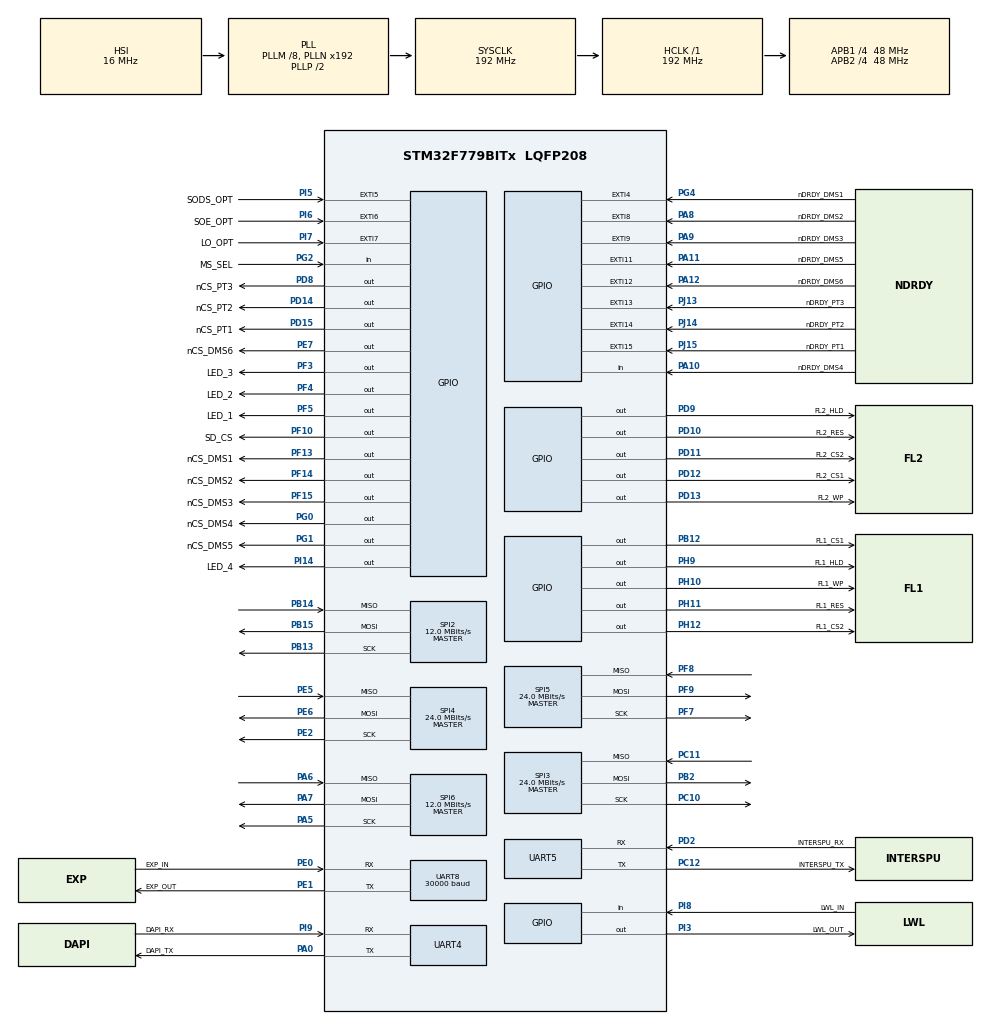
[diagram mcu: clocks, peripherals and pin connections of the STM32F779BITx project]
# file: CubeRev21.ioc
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SPI6.Mode=SPI_MODE_MASTER
PD12.GPIO_Label=FL2_CS1
SPI3.Direction=SPI_DIRECTION_2LINES
SPI4.VirtualType=VM_MASTER
SPI3.VirtualType=VM_MASTER
PH12.Signal=GPIO_Output
SPI2.VirtualType=VM_MASTER
PG4.Signal=GPXTI4
PC12.Signal=UART5_TX
PG0.Signal=GPIO_Output
VP_RTC_VS_RTC_Activate.Mode=RTC_Enabled
PI6.GPIO_Label=SOE_OPT
PB13.Signal=SPI2_SCK
RCC.SYSCLKSource=RCC_SYSCLKSOURCE_PLLCLK
NVIC.SPI4_IRQn=true\:6\:0\:true\:false\:true\:true\:true
PJ13.GPIO_Label=nDRDY_PT3
PF7.Signal=SPI5_SCK
PH9.Signal=GPIO_Output
PE2.Mode=Full_Duplex_Master
RCC.APB2TimFreq_Value=96000000
PD8.Signal=GPIO_Output
PE5.Signal=SPI4_MISO
PE1.Signal=UART8_TX
PF10.GPIO_Label=SD_CS
PH10.GPIO_Label=FL1_WP
NVIC.EXTI15_10_IRQn=true\:5\:0\:true\:false\:true\:true\:true
PB2.Signal=SPI3_MOSI
PB3.Mode=JTAG_5_pins
PB12.GPIO_Label=FL1_CS1
PB14.Mode=Full_Duplex_Master
PI6.Signal=GPXTI6
PI3.Signal=GPIO_Output
PG4.GPIO_Label=nDRDY_DMS1
SPI2.CalculateBaudRate=12.0 MBits/s
PE2.Signal=SPI4_SCK
PF8.Mode=Full_Duplex_Master
PA8.Signal=GPXTI8
PF3.Signal=GPIO_Output
PJ14.Signal=GPXTI14
Mcu.Package=LQFP208
SPI2.Mode=SPI_MODE_MASTER
SPI3.Mode=SPI_MODE_MASTER
PD12.Signal=GPIO_Output
PA10.Signal=GPIO_Input
PC11.Mode=Full_Duplex_Master
SPI5.CalculateBaudRate=24.0 MBits/s
RCC.APB2CLKDivider=RCC_HCLK_DIV4
PF14.Signal=GPIO_Output
RCC.APB1TimFreq_Value=96000000
PB13.Mode=Full_Duplex_Master
PD15.Signal=GPIO_Output
SPI5.VirtualType=VM_MASTER
NVIC.UART4_IRQn=true\:6\:0\:true\:false\:true\:true\:true
PA5.Mode=Full_Duplex_Master
PD12.PinState=GPIO_PIN_RESET
NVIC.EXTI4_IRQn=true\:5\:0\:true\:false\:true\:true\:true
NVIC.UART8_IRQn=true\:6\:0\:true\:false\:true\:true\:true
PD9.GPIO_Label=FL2_HLD
PA9.GPIO_Label=nDRDY_DMS3
PE1.Mode=Asynchronous
PA11.GPIO_Label=nDRDY_DMS5
PF14.GPIO_Label=nCS_DMS2
RCC.APB1CLKDivider=RCC_HCLK_DIV4
PF13.GPIO_Label=nCS_DMS1
PD10.Signal=GPIO_Output
PI8.GPIO_Label=LWL_IN
PA8.GPIO_Label=nDRDY_DMS2
SPI6.CalculateBaudRate=12.0 MBits/s
PD11.GPIO_Speed=GPIO_SPEED_FREQ_LOW
PH11.GPIO_Label=FL1_RES
PA9.Signal=GPXTI9
PA0/WKUP.Mode=Asynchronous
PB14.Signal=SPI2_MISO
PA5.Signal=SPI6_SCK
PH9.GPIO_Label=FL1_HLD
PJ15.Signal=GPXTI15
PC12.Mode=Asynchronous
PI9.GPIO_Label=DAPI_RX
PE1.GPIO_Label=EXP_OUT
PI7.Signal=GPXTI7
PE6.Mode=Full_Duplex_Master
PF4.GPIO_Label=LED_2
PA0/WKUP.GPIO_Label=DAPI_TX
PF13.Signal=GPIO_Output
PJ15.GPIO_Label=nDRDY_PT1
PA13.Mode=JTAG_5_pins
PD11.Signal=GPIO_Output
PC12.GPIO_Label=INTERSPU_TX
PA11.Signal=GPXTI11
ProjectManager.HeapSize=0x200
PF9.Signal=SPI5_MOSI
SPI4.CLKPhase=SPI_PHASE_2EDGE
SPI6.BaudRatePrescaler=SPI_BAUDRATEPRESCALER_4
NVIC.PriorityGroup=NVIC_PRIORITYGROUP_4
SPI2.DataSize=SPI_DATASIZE_8BIT
PF4.Signal=GPIO_Output
PD2.Signal=UART5_RX
PD2.GPIO_Label=INTERSPU_RX
SPI6.VirtualType=VM_MASTER
Mcu.Family=STM32F7
PA6.Mode=Full_Duplex_Master
NVIC.SPI6_IRQn=true\:6\:0\:true\:false\:true\:true\:true
RCC.CortexFreq_Value=192000000
PH10.Signal=GPIO_Output
PG2.Signal=GPIO_Input
PC10.Signal=SPI3_SCK
SPI4.Direction=SPI_DIRECTION_2LINES
CRC.InputDataFormat=CRC_INPUTDATA_FORMAT_WORDS
PA0/WKUP.Signal=UART4_TX
PI5.GPIO_Label=SODS_OPT
PB15.Signal=SPI2_MOSI
PD11.PinState=GPIO_PIN_RESET
PI14.GPIO_Label=LED_4
PJ14.GPIO_Label=nDRDY_PT2
ProjectManager.StackSize=0x400
NVIC.UART5_IRQn=true\:6\:0\:true\:false\:true\:true\:true
PD13.Signal=GPIO_Output
PD11.GPIO_PuPd=GPIO_NOPULL
PA12.Signal=GPXTI12
SPI4.Mode=SPI_MODE_MASTER
RCC.HCLKFreq_Value=192000000
PD11.GPIO_Label=FL2_CS2
PI9.Mode=Asynchronous
RCC.AHBFreq_Value=192000000
SPI2.BaudRatePrescaler=SPI_BAUDRATEPRESCALER_4
SPI3.DataSize=SPI_DATASIZE_8BIT
RCC.HSE_VALUE=25000000
PA15.Mode=JTAG_5_pins
PI8.Signal=GPIO_Input
PF9.Mode=Full_Duplex_Master
PB4.Mode=JTAG_5_pins
PA14.Mode=JTAG_5_pins
PI5.Signal=GPXTI5
PA10.GPIO_Label=nDRDY_DMS4
NVIC.SPI2_IRQn=true\:6\:0\:true\:false\:true\:true\:true
SPI4.BaudRatePrescaler=SPI_BAUDRATEPRESCALER_2
PD13.GPIO_Label=FL2_WP
PA6.Signal=SPI6_MISO
UART8.BaudRate=30000
PH12.PinState=GPIO_PIN_RESET
PF5.GPIO_Label=LED_1
PA15.Signal=SYS_JTDI
PF8.Signal=SPI5_MISO
PG0.GPIO_Label=nCS_DMS4
PE0.GPIO_Label=EXP_IN
PF5.Signal=GPIO_Output
SPI2.Direction=SPI_DIRECTION_2LINES
PE7.Signal=GPIO_Output
PF3.GPIO_Label=LED_3
PB4.Signal=SYS_JTRST
PG2.GPIO_Label=MS_SEL
PD15.GPIO_Label=nCS_PT1
PA7.Mode=Full_Duplex_Master
PH12.GPIO_Label=FL1_CS2
PH11.Signal=GPIO_Output
SPI4.DataSize=SPI_DATASIZE_8BIT
PG1.Signal=GPIO_Output
PC11.Signal=SPI3_MISO
PI14.Signal=GPIO_Output
PC10.Mode=Full_Duplex_Master
PD9.Signal=GPIO_Output
SPI5.Mode=SPI_MODE_MASTER
PA12.GPIO_Label=nDRDY_DMS6
PD8.GPIO_Label=nCS_PT3
PA13.Signal=SYS_JTMS-SWDIO
PF7.Mode=Full_Duplex_Master
SPI6.DataSize=SPI_DATASIZE_8BIT
ProjectManager.TargetToolchain=STM32CubeIDE
RCC.USBFreq_Value=192000000
PD10.GPIO_Label=FL2_RES
RCC.LSE_VALUE=32768
PD2.Mode=Asynchronous
board=custom
RCC.VCOOutputFreq_Value=384000000
PG1.GPIO_Label=nCS_DMS5
PI9.Signal=UART4_RX
PB15.Mode=Full_Duplex_Master
RCC.APB2Freq_Value=48000000
SPI3.CalculateBaudRate=24.0 MBits/s
PF10.Signal=GPIO_Output
PE5.Mode=Full_Duplex_Master
PF15.GPIO_Label=nCS_DMS3
PI7.GPIO_Label=LO_OPT
SPI6.Direction=SPI_DIRECTION_2LINES
PF15.Signal=GPIO_Output
SPI4.CalculateBaudRate=24.0 MBits/s
PD14.GPIO_Label=nCS_PT2
PE6.Signal=SPI4_MOSI
Mcu.Name=STM32F779BITx
PE0.Signal=UART8_RX
PE7.GPIO_Label=nCS_DMS6
PD14.Signal=GPIO_Output
PB3.Signal=SYS_JTDO-SWO
RCC.SYSCLKFreq_VALUE=192000000
PB2.Mode=Full_Duplex_Master
NVIC.EXTI9_5_IRQn=true\:5\:0\:true\:false\:true\:true\:true
PA14.Signal=SYS_JTCK-SWCLK
RCC.HSI_VALUE=16000000
PI3.GPIO_Label=LWL_OUT
RCC.PLLM=8
RCC.APB1Freq_Value=48000000
VP_CRC_VS_CRC.Mode=CRC_Activate
PB12.Signal=GPIO_Output
PE0.Mode=Asynchronous
PJ13.Signal=GPXTI13
SPI5.Direction=SPI_DIRECTION_2LINES
PA7.Signal=SPI6_MOSI

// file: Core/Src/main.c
/* USER CODE BEGIN Header */
/**
 ******************************************************************************
 @file           : main.c
 @brief          : Main program body
 ******************************************************************************
 @attention

 <h2><center>&copy; Copyright (c) 2020 STMicroelectronics.
 All rights reserved.</center></h2>

 This software component is licensed by ST under BSD 3-Clause license,
 the "License"; You may not use this file except in compliance with the
 License. You may obtain a copy of the License at:
 opensource.org/licenses/BSD-3-Clause

 ******************************************************************************
 */
/* USER CODE END Header */
#include "main.h"
#include "crc.h"
#include "rtc.h"
#include "spi.h"
#include "usart.h"
#include "gpio.h"

void SystemClock_Config(void);

/* USER CODE BEGIN 0 */
uint16_t data = 0;
/* USER CODE END 0 */

int main(void)
{

  /* MCU Configuration--------------------------------------------------------*/

  /* Reset of all peripherals, Initializes the Flash interface and the Systick. */
  HAL_Init();

  /* Configure the system clock */
  SystemClock_Config();

  /* Initialize all configured peripherals */
  MX_GPIO_Init();
  MX_SPI2_Init();
  MX_SPI3_Init();
  MX_SPI6_Init();
  MX_UART4_Init();
  MX_UART8_Init();
  MX_UART5_Init();
  MX_CRC_Init();
  MX_SPI4_Init();
  MX_SPI5_Init();
  MX_RTC_Init();
  /* USER CODE BEGIN 2 */
	HAL_GPIO_WritePin(LED_1_GPIO_Port, LED_1_Pin, GPIO_PIN_RESET); //clear all LEDs
	HAL_GPIO_WritePin(LED_2_GPIO_Port, LED_2_Pin, GPIO_PIN_RESET);
	HAL_GPIO_WritePin(LED_3_GPIO_Port, LED_3_Pin, GPIO_PIN_RESET);
	HAL_GPIO_WritePin(LED_4_GPIO_Port, LED_4_Pin, GPIO_PIN_RESET);

	if (!HAL_GPIO_ReadPin(MS_SEL_GPIO_Port, MS_SEL_Pin)) {
		main_master();
	} else { //Slave loop
		main_slave();
	}

  /* USER CODE END 2 */

  /* Infinite loop */
	while (1) {

	}
}

void SystemClock_Config(void)
{
  RCC_OscInitTypeDef RCC_OscInitStruct = {0};
  RCC_ClkInitTypeDef RCC_ClkInitStruct = {0};
  RCC_PeriphCLKInitTypeDef PeriphClkInitStruct = {0};

  /** Configure the main internal regulator output voltage
  */
  __HAL_RCC_PWR_CLK_ENABLE();
  __HAL_PWR_VOLTAGESCALING_CONFIG(PWR_REGULATOR_VOLTAGE_SCALE1);
  /** Initializes the RCC Oscillators according to the specified parameters
  * in the RCC_OscInitTypeDef structure.
  */
  RCC_OscInitStruct.OscillatorType = RCC_OSCILLATORTYPE_HSI|RCC_OSCILLATORTYPE_LSI;
  RCC_OscInitStruct.HSIState = RCC_HSI_ON;
  RCC_OscInitStruct.HSICalibrationValue = RCC_HSICALIBRATION_DEFAULT;
  RCC_OscInitStruct.LSIState = RCC_LSI_ON;
  RCC_OscInitStruct.PLL.PLLState = RCC_PLL_ON;
  RCC_OscInitStruct.PLL.PLLSource = RCC_PLLSOURCE_HSI;
  RCC_OscInitStruct.PLL.PLLM = 8;
  RCC_OscInitStruct.PLL.PLLN = 192;
  RCC_OscInitStruct.PLL.PLLP = RCC_PLLP_DIV2;
  RCC_OscInitStruct.PLL.PLLQ = 2;
  if (HAL_RCC_OscConfig(&RCC_OscInitStruct) != HAL_OK)
  {
    Error_Handler();
  }
  /** Activate the Over-Drive mode
  */
  if (HAL_PWREx_EnableOverDrive() != HAL_OK)
  {
    Error_Handler();
  }
  /** Initializes the CPU, AHB and APB buses clocks
  */
  RCC_ClkInitStruct.ClockType = RCC_CLOCKTYPE_HCLK|RCC_CLOCKTYPE_SYSCLK
                              |RCC_CLOCKTYPE_PCLK1|RCC_CLOCKTYPE_PCLK2;
  RCC_ClkInitStruct.SYSCLKSource = RCC_SYSCLKSOURCE_PLLCLK;
  RCC_ClkInitStruct.AHBCLKDivider = RCC_SYSCLK_DIV1;
  RCC_ClkInitStruct.APB1CLKDivider = RCC_HCLK_DIV4;
  RCC_ClkInitStruct.APB2CLKDivider = RCC_HCLK_DIV4;

  if (HAL_RCC_ClockConfig(&RCC_ClkInitStruct, FLASH_LATENCY_6) != HAL_OK)
  {
    Error_Handler();
  }
  PeriphClkInitStruct.PeriphClockSelection = RCC_PERIPHCLK_RTC|RCC_PERIPHCLK_UART4
                              |RCC_PERIPHCLK_UART5|RCC_PERIPHCLK_UART8;
  PeriphClkInitStruct.RTCClockSelection = RCC_RTCCLKSOURCE_LSI;
  PeriphClkInitStruct.Uart4ClockSelection = RCC_UART4CLKSOURCE_PCLK1;
  PeriphClkInitStruct.Uart5ClockSelection = RCC_UART5CLKSOURCE_PCLK1;
  PeriphClkInitStruct.Uart8ClockSelection = RCC_UART8CLKSOURCE_PCLK1;
  if (HAL_RCCEx_PeriphCLKConfig(&PeriphClkInitStruct) != HAL_OK)
  {
    Error_Handler();
  }
}

/* USER CODE BEGIN 4 */
void main_master(void) {
	//HAL_GPIO_WritePin(LED_1_GPIO_Port, LED_1_Pin, GPIO_PIN_SET);  //ON = MS set to Master
	//uint8_t bufferOff[3] = {0x01, 0x03, 0x05};
	//uint8_t bufferOn[3] = {0x02, 0x04, 0x06};

	uint32_t lastInit = 0;
	uint32_t lastBlinky = 0;
	uint8_t writeBuffer[256] = {0};

	uint8_t readSensor = 3; //DMS: 0-5, PT100: 6-8

/*
	while(1){
		HAL_GPIO_TogglePin(FL1_RES_GPIO_Port, FL1_RES_Pin);
		HAL_GPIO_TogglePin(LED_2_GPIO_Port, LED_2_Pin);

		HAL_Delay(1000);
	}
*/

	/* Performing the memory test */
	InitMemory();
	uint32_t memoryTest = FastMemoryTest(huart4);
	//while(1);

	for (int sensors = 0; sensors <= 8; sensors++) {
		if (sensors <= 5)
			adc_scan_start(sensors, 2000, 128, 0);
		else
			adc_scan_start(sensors, 2000, 1, 0);
	}

	HAL_Delay(1000);

	uint8_t softgain = 1;
	uint8_t offset = 0;
	uint8_t dout = 0;
	HAL_UART_Transmit(&huart4, (uint8_t*) &dout, sizeof(dout), HAL_MAX_DELAY);

	while (1) { //Master loop

		data = adc_scan(readSensor, 0x01);
		dout = data * softgain + offset;
		write_DAPI(&dout);
		write_EXP(&dout);

		HAL_GPIO_WritePin(LED_2_GPIO_Port, LED_2_Pin,
				HAL_GPIO_ReadPin(SODS_OPT_GPIO_Port, SODS_OPT_Pin));
		HAL_GPIO_WritePin(LED_3_GPIO_Port, LED_3_Pin,
				HAL_GPIO_ReadPin(LO_OPT_GPIO_Port, LO_OPT_Pin));
		HAL_GPIO_WritePin(LED_4_GPIO_Port, LED_4_Pin,
				HAL_GPIO_ReadPin(SOE_OPT_GPIO_Port, SOE_OPT_Pin));

		if (lastInit + 5000 < HAL_GetTick()) {
			lastInit = HAL_GetTick();
			//write_EXP(&dout);
			/*
			 for(int sensors = 0; sensors <=8 ; sensors++){
			 if(sensors <= 5)
			 adc_scan_start(sensors, 2000, 128, 0);
			 else
			 adc_scan_start(sensors, 20, 1, 50);
			 }
			 */

		}

		if (lastBlinky + 1000 < HAL_GetTick()) {
			lastBlinky = HAL_GetTick();
			HAL_GPIO_TogglePin(LED_1_GPIO_Port, LED_1_Pin);
		}

		/*
		 HAL_GPIO_TogglePin(LED_3_GPIO_Port, LED_3_Pin);
		 HAL_UART_Transmit(&huart5, bufferOff, sizeof(bufferOff), 5);
		 HAL_Delay(100);
		 HAL_GPIO_TogglePin(LED_3_GPIO_Port, LED_3_Pin);
		 HAL_UART_Transmit(&huart5, bufferOn, sizeof(bufferOn), 5);
		 HAL_Delay(100);
		 */
	}
}

void main_slave(void) {
	uint8_t buffer[1] = { 0x00 };
	while (1) {
		HAL_UART_Receive(&huart5, buffer, sizeof(buffer), 5);
		if (buffer[0] == 0x01) {
			HAL_GPIO_WritePin(LED_2_GPIO_Port, LED_2_Pin, GPIO_PIN_RESET);
		} else if (buffer[0] == 0x02) {
			HAL_GPIO_WritePin(LED_2_GPIO_Port, LED_2_Pin, GPIO_PIN_SET);
		} else if (buffer[0] == 0x03) {
			HAL_GPIO_WritePin(LED_3_GPIO_Port, LED_3_Pin, GPIO_PIN_RESET);
		} else if (buffer[0] == 0x04) {
			HAL_GPIO_WritePin(LED_3_GPIO_Port, LED_3_Pin, GPIO_PIN_SET);
		} else if (buffer[0] == 0x05) {
			HAL_GPIO_WritePin(LED_4_GPIO_Port, LED_4_Pin, GPIO_PIN_RESET);
		} else if (buffer[0] == 0x06) {
			HAL_GPIO_WritePin(LED_4_GPIO_Port, LED_4_Pin, GPIO_PIN_SET);
		}
		buffer[1] = 0x00;
	}
}

int cs_enable(int8_t id) {
	HAL_GPIO_WritePin(port_from_id(id), pin_from_id(id), GPIO_PIN_RESET);
	HAL_Delay(1);
	return 0;
}

int cs_disable(int8_t id) {
	HAL_GPIO_WritePin(port_from_id(id), pin_from_id(id), GPIO_PIN_SET);
	HAL_Delay(1);
	return 0;
}

int wr_spi(int8_t id, uint8_t cmd) {
	HAL_SPI_Transmit(get_hspi_from_id(id), &cmd, sizeof(cmd), HAL_MAX_DELAY);
	return 0;
}

uint16_t adc_scan(int8_t id, uint8_t chn) {
	return rd_data(id);
}

int16_t adc_scan_start(int8_t id, uint_least16_t drate, uint_least8_t gain,
		uint_least16_t current) {
	int16_t r = 0;
	switch (drate) {
	case 5:
		drate = SYS0_DOR5;
		break;
	case 10:
		drate = SYS0_DOR10;
		break;
	case 20:
		drate = SYS0_DOR20;
		break;
	default:
	case 40:
		drate = SYS0_DOR40;
		break;
	case 80:
		drate = SYS0_DOR80;
		break;
	case 160:
		drate = SYS0_DOR160;
		break;
	case 320:
		drate = SYS0_DOR320;
		break;
	case 640:
		drate = SYS0_DOR640;
		break;
	case 1000:
		drate = SYS0_DOR1000;
		break;
	case 2000:
		drate = SYS0_DOR2000;
		break;
	}

	switch (gain) {
	default:
	case 1:
		gain = SYS0_PGA1;
		break;
	case 2:
		gain = SYS0_PGA2;
		break;
	case 4:
		gain = SYS0_PGA4;
		break;
	case 8:
		gain = SYS0_PGA8;
		break;
	case 16:
		gain = SYS0_PGA16;
		break;
	case 32:
		gain = SYS0_PGA32;
		break;
	case 64:
		gain = SYS0_PGA64;
		break;
	case 128:
		gain = SYS0_PGA128;
		break;
	}

	switch (current) {
	default:
	case 0:
		current = IDAC0_MAGOFF;
		break;
	case 50:
		current = IDAC0_MAG50UA;
		break;
	case 100:
		current = IDAC0_MAG100UA;
		break;
	case 250:
		current = IDAC0_MAG250UA;
		break;
	case 500:
		current = IDAC0_MAG500UA;
		break;
	case 750:
		current = IDAC0_MAG750UA;
		break;
	case 1000:
		current = IDAC0_MAG1000UA;
		break;
	case 1500:
		current = IDAC0_MAG1500UA;
		break;
	}

	cs_enable(id);

	if (id <= 5) {	//DMS

		wr_cmd(id, CMD_RESET);
		wr_cmd(id, CMD_SDATAC);
		wr_reg(id, REG_MUX0, 0b00000001);
		wr_reg(id, REG_VBIAS, 0x00);
		wr_reg(id, REG_MUX1, 0b00110000);
		wr_reg(id, REG_SYS0, gain | drate);
		wr_reg(id, REG_IDAC0, 0x00);
		wr_reg(id, REG_IDAC1, 0b11001100);
		wr_cmd(id, CMD_SYNC);
		//uint8_t rdata = CMD_RDATAC;
		//HAL_SPI_Transmit(get_hspi_from_id(id), &rdata, 2, HAL_MAX_DELAY);

	} else {	//PT100

		wr_cmd(id, CMD_RESET);
		wr_cmd(id, CMD_SDATAC);
		wr_reg(id, REG_VBIAS, 0x00);
		wr_reg(id, REG_MUX0, 0x01); //?
		wr_reg(id, REG_MUX1, 0b00100000); //int ref on, REFP0/REFN0 ref inp selected
		//wr_reg(id, REG_VBIAS, 0x00);
		//wr_reg(id, REG_MUX1, 0b00110000);
		wr_reg(id, REG_SYS0, gain | drate); //Gain 4, SPS 20
		wr_reg(id, REG_IDAC0, current); //1mA;
		wr_reg(id, REG_IDAC1, 0b00000010); //IDAC1 = AIN0, IDAC2 = AIN3
		wr_cmd(id, CMD_SYNC);
		//uint8_t rdata = CMD_RDATAC;
		//HAL_SPI_Transmit(get_hspi_from_id(id), &rdata, 2, HAL_MAX_DELAY);
	}

	cs_disable(id);

	return r;

}

uint16_t rd_data(int8_t id) {
	uint8_t d1, d3;
	uint16_t dR;

	while (HAL_GPIO_ReadPin(port_drdy_from_id(id), pin_drdy_from_id(id))
			== GPIO_PIN_SET)
		;
	cs_enable(id);

	uint8_t rdata = CMD_RDATA;
	HAL_SPI_Transmit(get_hspi_from_id(id), &rdata, 2, HAL_MAX_DELAY);
	//HAL_Delay(1);

	uint8_t nope = CMD_NOP;
	HAL_SPI_TransmitReceive(get_hspi_from_id(id), &nope, &d1, 2, HAL_MAX_DELAY);
	HAL_SPI_TransmitReceive(get_hspi_from_id(id), &nope, &d3, 2, HAL_MAX_DELAY);
	dR = (d1 << 8) | d3;
	cs_disable(id);

	return dR;
}

//
int rd_spi(int8_t id) {
	uint8_t d1;
	//cs_enable(id);
	HAL_SPI_Receive(get_hspi_from_id(id), &d1, sizeof(d1), HAL_MAX_DELAY);
	//cs_disable(id);
	return d1;
}

//
uint16_t pin_from_id(int8_t id) {
	switch (id) {
	case 0: //DMS 1
		return nCS_DMS1_Pin;
	case 1: //DMS 2
		return nCS_DMS2_Pin;
	case 2: //DMS 3
		return nCS_DMS3_Pin;
	case 3: //DMS 4
		return nCS_DMS4_Pin;
	case 4: //DMS 5
		return nCS_DMS5_Pin;
	case 5: //DMS 6
		return nCS_DMS6_Pin;
	case 6: //PT 1
		return nCS_PT1_Pin;
	case 7: //PT 2
		return nCS_PT2_Pin;
	case 8: //PT 3
		return nCS_PT3_Pin;
	default: //DMS 1
		return nCS_DMS1_Pin;
	}
}

//
GPIO_TypeDef* port_from_id(int8_t id) {
	switch (id) {
	case 0: //DMS 1
		return nCS_DMS1_GPIO_Port;
	case 1: //DMS 2
		return nCS_DMS2_GPIO_Port;
	case 2: //DMS 3
		return nCS_DMS3_GPIO_Port;
	case 3: //DMS 4
		return nCS_DMS4_GPIO_Port;
	case 4: //DMS 5
		return nCS_DMS5_GPIO_Port;
	case 5: //DMS 6
		return nCS_DMS6_GPIO_Port;
	case 6: //PT 1
		return nCS_PT1_GPIO_Port;
	case 7: //PT 2
		return nCS_PT2_GPIO_Port;
	case 8: //PT 3
		return nCS_PT3_GPIO_Port;
	default: //DMS 1
		return nCS_DMS1_GPIO_Port;
	}
}

//
uint16_t pin_drdy_from_id(int8_t id) {
	switch (id) {
	case 0: //DMS 1
		return nDRDY_DMS1_Pin;
	case 1: //DMS 2
		return nDRDY_DMS2_Pin;
	case 2: //DMS 3
		return nDRDY_DMS3_Pin;
	case 3: //DMS 4
		return nDRDY_DMS4_Pin;
	case 4: //DMS 5
		return nDRDY_DMS5_Pin;
	case 5: //DMS 6
		return nDRDY_DMS6_Pin;
	case 6: //PT 1
		return nDRDY_PT1_Pin;
	case 7: //PT 2
		return nDRDY_PT2_Pin;
	case 8: //PT 3
		return nDRDY_PT3_Pin;
	default: //DMS 1
		return nDRDY_DMS1_Pin;
	}
}

//
GPIO_TypeDef* port_drdy_from_id(int8_t id) {
	switch (id) {
	case 0: //DMS 1
		return nDRDY_DMS1_GPIO_Port;
	case 1: //DMS 2
		return nDRDY_DMS2_GPIO_Port;
	case 2: //DMS 3
		return nDRDY_DMS3_GPIO_Port;
	case 3: //DMS 4
		return nDRDY_DMS4_GPIO_Port;
	case 4: //DMS 5
		return nDRDY_DMS5_GPIO_Port;
	case 5: //DMS 6
		return nDRDY_DMS6_GPIO_Port;
	case 6: //PT 1
		return nDRDY_PT1_GPIO_Port;
	case 7: //PT 2
		return nDRDY_PT2_GPIO_Port;
	case 8: //PT 3
		return nDRDY_PT3_GPIO_Port;
	default: //DMS 1
		return nDRDY_DMS1_GPIO_Port;
	}
}

//
SPI_HandleTypeDef* get_hspi_from_id(int8_t id) {
	switch (id) {
	case 0: //DMS 1
		return &hspi4;
	case 1: //DMS 2
		return &hspi4;
	case 2: //DMS 3
		return &hspi4;
	case 3: //DMS 4
		return &hspi4;
	case 4: //DMS 5
		return &hspi4;
	case 5: //DMS 6
		return &hspi4;
	case 6: //PT 1
		return &hspi3;
	case 7: //PT 2
		return &hspi3;
	case 8: //PT 3
		return &hspi3;
	default: //DMS 1
		return &hspi4;
	}
}

//
int wr_cmd(int8_t id, uint8_t cmd) {
	int8_t status = 0;
	//status+= cs_enable(id);
	status += wr_spi(id, cmd);
	if (cmd == CMD_SYNC) {
		status += wr_spi(id, cmd);
	}
	//status+= cs_disable(id);
	if (cmd == CMD_RESET) {
		HAL_Delay(1); //1ms
	} else if (cmd == CMD_SELFOCAL) {
		HAL_Delay(10); //10ms
	} else if (cmd == CMD_SDATAC) {
		HAL_Delay(1); //1ms
	}
	return 0;
}

int wr_reg(int8_t id, uint8_t reg, uint8_t data) {
	int8_t status = 0;
	status += wr_spi(id, CMD_WREG | reg);
	status += wr_spi(id, 0);
	status += wr_spi(id, data);
	return 0;
}

int rd_reg(int8_t id, uint8_t reg) {
	int8_t status = 0;
	uint8_t data;
	//status += cs_enable(id);
	status += wr_spi(id, CMD_RREG | reg);
	status += wr_spi(id, 0);
	data = rd_spi(id);
	//status += cs_disable(id);
	return data;
}

int write_EXP(uint8_t *dout) {
	HAL_UART_Transmit(&huart8, &dout, sizeof(dout), HAL_MAX_DELAY);
	return 0;
}

int write_DAPI(uint8_t *dout) {
	HAL_UART_Transmit(&huart4, &dout, sizeof(dout), HAL_MAX_DELAY);
	return 0;
}

uint8_t* read_DAPI() {
	uint8_t *din;
	HAL_UART_Receive(&huart4, din, 1, HAL_MAX_DELAY);
	return din;
}

/* USER CODE END 4 */

void Error_Handler(void)
{
}

/************************ (C) COPYRIGHT STMicroelectronics *****END OF FILE****/
